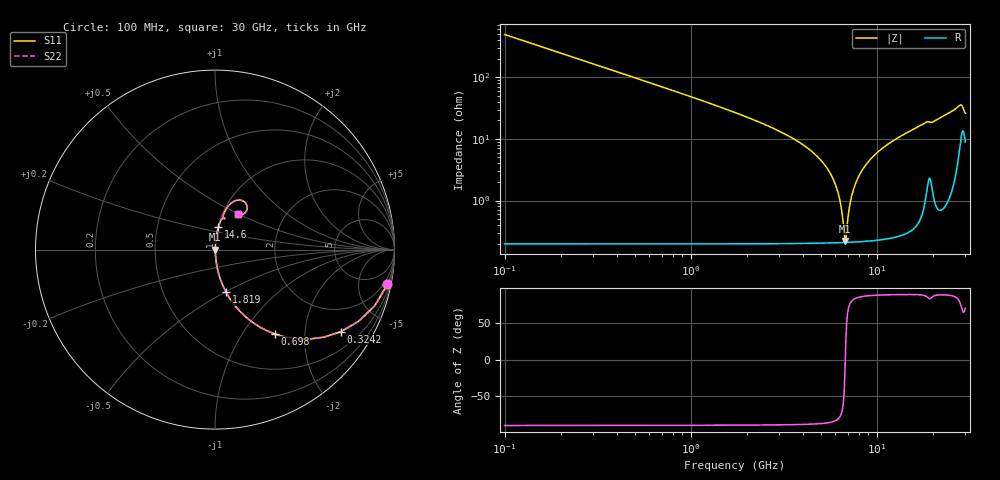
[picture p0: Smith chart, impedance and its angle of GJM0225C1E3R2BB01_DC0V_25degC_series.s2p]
!Murata Part Number: GJM0225C1E3R2BB01
!These Parameters are Measured in Series Mode Connection
!  o--ll--o
!Port1  Port2
!  o------o
!Operation Temp=25[degC], DC Bias Voltage=0[V]
!Freq. Start=100[MHz] Stop=30[GHz], 401[Steps]
!Data Generated on Feb 1, 2023
# Hz S RI R 50
!Freq.(Hz) S11(Real) S11(Imag) S21(Real) S21(Imag) S12(Real) S12(Imag) S22(Real) S22(Imag)
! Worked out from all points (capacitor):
!   401 points, 100 MHz to 30 GHz, reference 50 ohm
!   read as one part in series: C = 3.2 pF near 249.5 MHz
!   lowest |Z| = 220 mohm at 6.753 GHz (marker M1)
!   series resonance near 6.785 GHz, so ESL is about 170 pH
!   S11 on the Smith chart (normalised r, x): 100 MHz: 1.00, -9.95; 324.2 MHz: 1.00, -3.06; 698 MHz: 1.00, -1.41; 1.819 GHz: 1.00, -0.51; 14.6 GHz: 1.01, +0.25; 30 GHz: 1.18, +0.49
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1e8  0.9611 -0.1933  0.0389 0.1933  0.0389 0.1933  0.9611 -0.1933
3.2425e8  0.7005 -0.4574  0.2995 0.4574  0.2995 0.4574  0.7005 -0.4574
6.98e8  0.3325 -0.4697  0.6675 0.4697  0.6675 0.4697  0.3325 -0.4697
1.1465e9  0.152 -0.3567  0.848 0.3567  0.848 0.3567  0.152 -0.3567
1.81925e9  0.0621 -0.2376  0.9379 0.2376  0.9379 0.2376  0.0621 -0.2376
5.10825e9  0.0038 -0.042  0.9962 0.042  0.9962 0.042  0.0038 -0.042
5.70625e9  0.0027 -0.0255  0.9973 0.0255  0.9973 0.0255  0.0027 -0.0255
6.15475e9  0.00226 -0.0143  0.9977 0.0143  0.9977 0.0143  0.00226 -0.0143
6.379e9  0.00215 -0.00904  0.9979 0.00904  0.9979 0.00904  0.00215 -0.00904
6.678e9  0.00208 -0.00233  0.9979 0.00233  0.9979 0.00233  0.00208 -0.00233
6.75275e9  0.00208 -0.000695  0.9979 0.000695  0.9979 0.000695  0.00208 -0.000695
6.90225e9  0.00209 0.00252  0.9979 -0.00252  0.9979 -0.00252  0.00209 0.00252
7.276e9  0.00221 0.0103  0.9978 -0.0103  0.9978 -0.0103  0.00221 0.0103
7.79925e9  0.00254 0.0205  0.9975 -0.0205  0.9975 -0.0205  0.00254 0.0205
8.69625e9  0.00353 0.0368  0.9965 -0.0368  0.9965 -0.0368  0.00353 0.0368
1.01165e10  0.00591 0.0603  0.9941 -0.0603  0.9941 -0.0603  0.00591 0.0603
1.46015e10  0.0187 0.1243  0.9813 -0.1243  0.9813 -0.1243  0.0187 0.1243
1.505e10  0.0204 0.1304  0.9796 -0.1304  0.9796 -0.1304  0.0204 0.1304
2.005825e10  0.046 0.1777  0.954 -0.1777  0.954 -0.1777  0.046 0.1777
2.50665e10  0.0802 0.2495  0.9198 -0.2495  0.9198 -0.2495  0.0802 0.2495
2.8206e10  0.1636 0.2662  0.8364 -0.2662  0.8364 -0.2662  0.1636 0.2662
3e10  0.1265 0.1976  0.8735 -0.1976  0.8735 -0.1976  0.1265 0.1976
